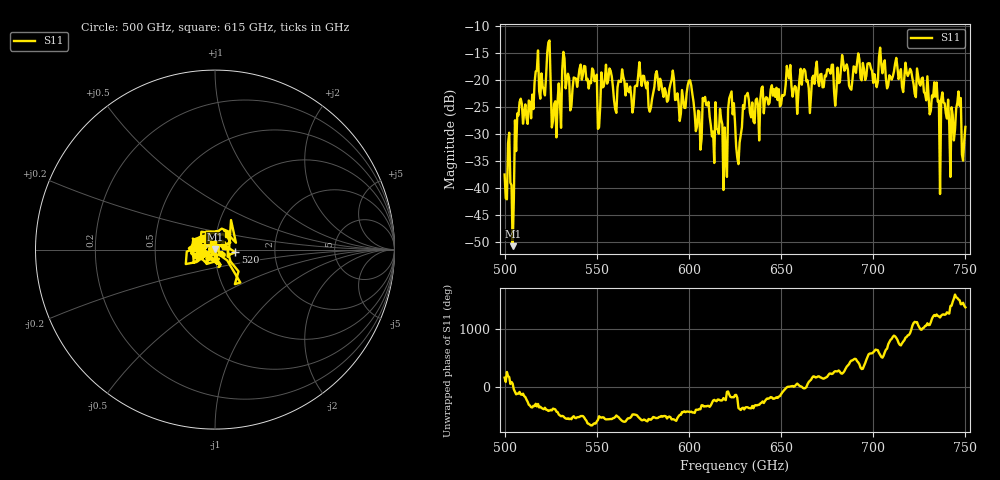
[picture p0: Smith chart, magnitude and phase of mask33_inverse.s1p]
!Created with skrf (http://scikit-rf.org).
# GHz S MA R 50.0
!freq magS11 angS11
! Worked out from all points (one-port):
!   401 points, 500 GHz to 750 GHz, reference 50 ohm
!   lowest |S11| = -50.7 dB at 504.4 GHz (marker M1), VSWR 1.01, Z = 50.2 + j0.237 ohm
!   |S11| at or under -10 dB: start of sweep to end of sweep
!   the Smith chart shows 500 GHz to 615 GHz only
!   S11 on the Smith chart (normalised r, x): 500 GHz: 0.98, +0.01; 520 GHz: 1.26, -0.04; 615 GHz: 0.97, +0.07
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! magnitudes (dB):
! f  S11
! 500 GHz  -37.5
! 504.4 GHz  -50.7
! 508.1 GHz  -24.1
! 520 GHz  -18.8
! 523.8 GHz  -13.1
! 526.9 GHz  -24.5
! 531.2 GHz  -18.2
! 548.8 GHz  -20.3
! 551.9 GHz  -25.0
! 553.8 GHz  -21.2
! 562.5 GHz  -20.2
! 590.6 GHz  -20.0
! 593.8 GHz  -22.5
! 600.6 GHz  -20.1
! 605 GHz  -25.7
! 608.8 GHz  -23.2
! 615 GHz  -29.0
! 619.4 GHz  -28.8
! 623.1 GHz  -22.1
! 625 GHz  -27.8
! 626.9 GHz  -35.6
! 630.6 GHz  -23.0
! 656.2 GHz  -23.1
! 687.5 GHz  -21.6
! 718.8 GHz  -19.3
! 743.1 GHz  -26.5
! 746.2 GHz  -22.1
! 750 GHz  -28.7
